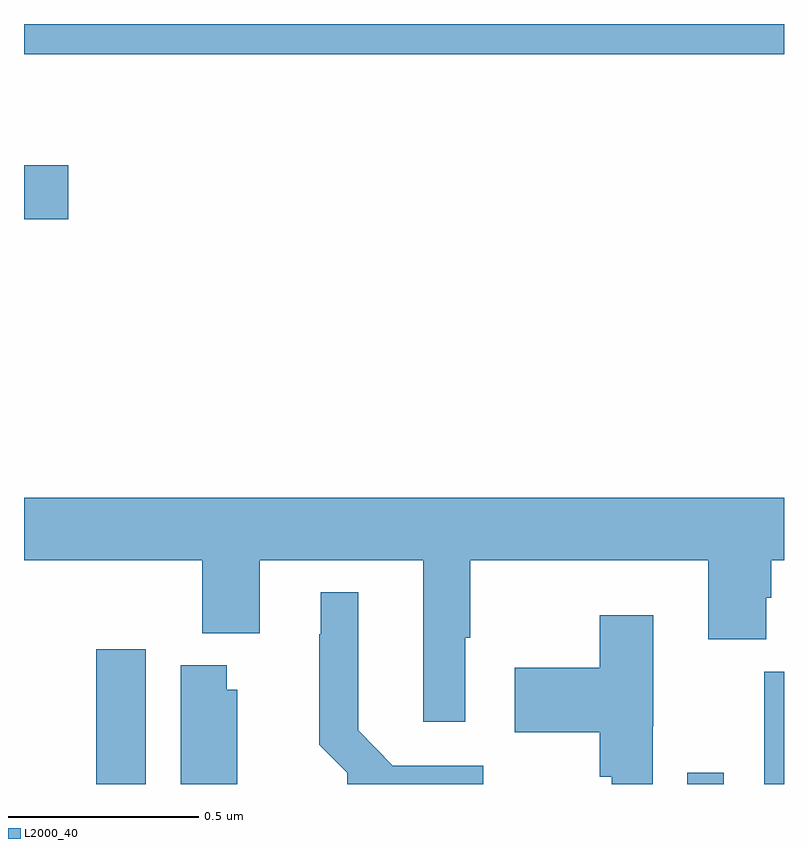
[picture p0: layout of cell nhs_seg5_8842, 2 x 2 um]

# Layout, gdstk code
import gdstk
lib = gdstk.Library(unit=1e-6, precision=1e-09)
def R(c, l, rs):  # rectangles x0, y0, x1, y1
    for r in rs: c.add(gdstk.rectangle(r[:2], r[2:], *l))
def P(c, l, *ps):  # polygons
    for p in ps: c.add(gdstk.Polygon(p, *l))
L2000_40 = (2000, 40)

nhs_seg5_8842 = lib.new_cell('nhs_seg5_8842')
R(nhs_seg5_8842, L2000_40, [(226.19,894.799,226.321,895.153), (227.745,894.799,227.841,894.829), (227.948,894.799,228,895.095), (226,896.285,226.117,896.427), (226,896.72,228,896.799)])
P(nhs_seg5_8842, L2000_40, [(227.161,895.184),(227.174,895.184),(227.174,895.388),(227.801,895.388),(227.801,895.18),(227.953,895.18),(227.953,895.289),(227.966,895.289),(227.966,895.388),(228,895.388),(228,895.552),(226,895.552),(226,895.388),(226.469,895.388),(226.469,895.196),(226.621,895.196),(226.621,895.388),(227.051,895.388),(227.051,894.963),(227.161,894.963)],
  [(227.209,894.847),(226.971,894.847),(226.879,894.94),(226.879,895.303),(226.781,895.303),(226.781,895.193),(226.777,895.193),(226.777,894.902),(226.851,894.828),(226.851,894.799),(227.209,894.799)],
  [(227.655,894.951),(227.656,894.951),(227.656,895.243),(227.515,895.243),(227.515,895.105),(227.292,895.105),(227.292,894.935),(227.515,894.935),(227.515,894.818),(227.547,894.818),(227.547,894.799),(227.655,894.799)],
  [(226.561,895.047),(226.534,895.047),(226.534,895.111),(226.412,895.111),(226.412,894.799),(226.561,894.799)])

lib.write_gds('nhs_seg5_8842.gds')
